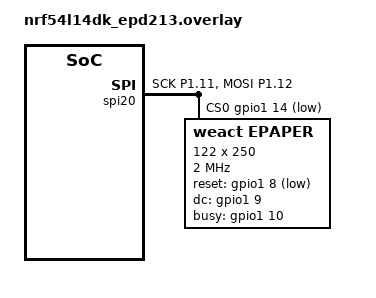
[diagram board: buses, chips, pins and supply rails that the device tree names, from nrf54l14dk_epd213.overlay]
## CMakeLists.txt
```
# WeAct 2.13" E-Paper Test - NRF54L14-DK
cmake_minimum_required(VERSION 3.20.0)

# Add driver to build
set(DRIVER_DIR ${CMAKE_CURRENT_SOURCE_DIR}/../../driver)

# Add custom device tree bindings path
list(APPEND DTS_ROOT ${CMAKE_CURRENT_SOURCE_DIR}/../..)

find_package(Zephyr REQUIRED HINTS $ENV{ZEPHYR_BASE})
project(epaper_213_nrf54l14)

# Include driver headers
target_include_directories(app PRIVATE ${DRIVER_DIR}/include)

# Build driver sources
target_sources(app PRIVATE
    # Application
    src/main.c
    # Driver sources
    ${DRIVER_DIR}/src/weact_epaper.c
    ${DRIVER_DIR}/src/weact_epaper_paint.c
    ${DRIVER_DIR}/src/weact_epaper_font.c
)
```

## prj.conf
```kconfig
# WeAct 2.13" E-Paper Configuration

# Enable required drivers
CONFIG_SPI=y
CONFIG_GPIO=y

# Logging
CONFIG_LOG=y
CONFIG_LOG_MODE_IMMEDIATE=y
CONFIG_PRINTK=y
CONFIG_EARLY_CONSOLE=y

# Memory settings
CONFIG_MAIN_STACK_SIZE=8192
CONFIG_HEAP_MEM_POOL_SIZE=16384

# SPI Configuration
CONFIG_SPI_INIT_PRIORITY=70
```

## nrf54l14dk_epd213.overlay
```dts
/*
 * Copyright (c) 2025 WeAct Studio
 * SPDX-License-Identifier: Apache-2.0
 *
 * nRF54L14-DK + WeAct 2.13" E-Paper Display (122x250)
 */

&pinctrl {
	spi20_default: spi20_default {
		group1 {
			psels = <NRF_PSEL(SPIM_SCK, 1, 11)>,
				<NRF_PSEL(SPIM_MOSI, 1, 12)>;
		};
	};

	spi20_sleep: spi20_sleep {
		group1 {
			psels = <NRF_PSEL(SPIM_SCK, 1, 11)>,
				<NRF_PSEL(SPIM_MOSI, 1, 12)>;
			low-power-enable;
		};
	};
};

&spi20 {
	compatible = "nordic,nrf-spim";
	status = "okay";
	pinctrl-0 = <&spi20_default>;
	pinctrl-1 = <&spi20_sleep>;
	pinctrl-names = "default", "sleep";
	cs-gpios = <&gpio1 14 GPIO_ACTIVE_LOW>;

	epaper: epaper@0 {
		compatible = "weact,epaper";
		reg = <0>;
		spi-max-frequency = <2000000>;
		reset-gpios = <&gpio1 8 GPIO_ACTIVE_LOW>;
		dc-gpios = <&gpio1 9 GPIO_ACTIVE_HIGH>;
		busy-gpios = <&gpio1 10 GPIO_ACTIVE_HIGH>;
		width = <122>;
		height = <250>;
		panel-type = <0>; /* EPD213_219 */
		color-mode = "bw";
	};
};
```

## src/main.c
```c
/*
 * WeAct 2.13 E-Paper Display Test for NRF54L14-DK
 * Display: WIDTHxHEIGHT pixels, Black & White
 */

#include <zephyr/kernel.h>
#include <zephyr/device.h>
#include <zephyr/logging/log.h>
#include <string.h>
#include "weact_epaper.h"

LOG_MODULE_REGISTER(epaper_test, LOG_LEVEL_INF);

#define EPAPER_NODE DT_NODELABEL(epaper)
#define DISPLAY_WIDTH  122
#define DISPLAY_HEIGHT 250
#define WIDTH_BYTE     ((DISPLAY_WIDTH % 8 == 0) ? (DISPLAY_WIDTH / 8) : (DISPLAY_WIDTH / 8 + 1))
#define BUFFER_SIZE    (WIDTH_BYTE * DISPLAY_HEIGHT)

static const struct device *epaper_dev = DEVICE_DT_GET(EPAPER_NODE);
static uint8_t display_buffer[BUFFER_SIZE];

void test_display_info(void)
{
	LOG_INF("========================================");
	LOG_INF("WeAct 2.13\" E-Paper Display Test");
	LOG_INF("========================================");
	LOG_INF("Board: NRF54L14-DK");
	LOG_INF("Display: WIDTHxHEIGHT pixels");
	LOG_INF("Buffer size: %d bytes", BUFFER_SIZE);
	LOG_INF("========================================\n");
}

void test_clear_display(void)
{
	LOG_INF("[TEST 1] Clearing display to WHITE...");
	epd_clear(epaper_dev, EPD_COLOR_WHITE);
	LOG_INF("✓ Display cleared\n");
	k_sleep(K_SECONDS(2));
}

void test_display_text(void)
{
	LOG_INF("[TEST 2] Displaying text...");

	epd_paint_newimage(epaper_dev, display_buffer, DISPLAY_WIDTH, DISPLAY_HEIGHT,
	                   EPD_ROTATE_0, EPD_COLOR_WHITE);
	epd_paint_clear(epaper_dev, EPD_COLOR_WHITE);

	epd_paint_show_string(epaper_dev, 10, 10, "WeAct Studio",
	                      EPD_FONT_SIZE8x6, EPD_COLOR_BLACK);
	epd_paint_show_string(epaper_dev, 10, 25, "2.13\" E-Paper",
	                      EPD_FONT_SIZE8x6, EPD_COLOR_BLACK);

	char info[32];
	snprintf(info, sizeof(info), "Size: WIDTHxHEIGHT", DISPLAY_WIDTH, DISPLAY_HEIGHT);
	epd_paint_show_string(epaper_dev, 10, 50, info,
	                      EPD_FONT_SIZE8x6, EPD_COLOR_BLACK);

	epd_paint_show_string(epaper_dev, 10, 65, "Board: NRF54L14",
	                      EPD_FONT_SIZE8x6, EPD_COLOR_BLACK);
	epd_paint_show_string(epaper_dev, 10, 80, "Status: OK",
	                      EPD_FONT_SIZE8x6, EPD_COLOR_BLACK);

	epd_paint_draw_circle(epaper_dev, 30, 120, 15, EPD_COLOR_BLACK, 0);
	epd_paint_draw_rectangle(epaper_dev, 60, 105, 90, 135, EPD_COLOR_BLACK, 1);

	epd_display_bw(epaper_dev, display_buffer);
	epd_update(epaper_dev);
	LOG_INF("✓ Text and shapes displayed\n");
	k_sleep(K_SECONDS(3));
}

int main(void)
{
	int ret;

	test_display_info();

	if (!device_is_ready(epaper_dev)) {
		LOG_ERR("❌ E-Paper device not ready!");
		return -ENODEV;
	}
	LOG_INF("✓ E-Paper device is ready\n");

	LOG_INF("Initializing 2.13\" E-Paper display...");
	ret = epd_init(epaper_dev);
	if (ret) {
		LOG_ERR("❌ Failed to initialize display: %d", ret);
		return ret;
	}
	LOG_INF("✓ Display initialized successfully\n");
	k_sleep(K_SECONDS(1));

	while (1) {
		LOG_INF("\n╔══════════════════════════════════════╗");
		LOG_INF("║  Starting Test Sequence              ║");
		LOG_INF("╚══════════════════════════════════════╝\n");

		test_clear_display();
		test_display_text();

		LOG_INF("[DONE] Test complete!");
		LOG_INF("Clearing and sleeping...\n");
		epd_clear(epaper_dev, EPD_COLOR_WHITE);
		epd_enter_deepsleepmode(epaper_dev, EPD_DEEPSLEEP_MODE1);

		LOG_INF("Waiting 10 seconds...\n");
		k_sleep(K_SECONDS(10));

		ret = epd_init(epaper_dev);
		if (ret) {
			LOG_ERR("❌ Failed to re-initialize: %d", ret);
			return ret;
		}
	}

	return 0;
}
```
